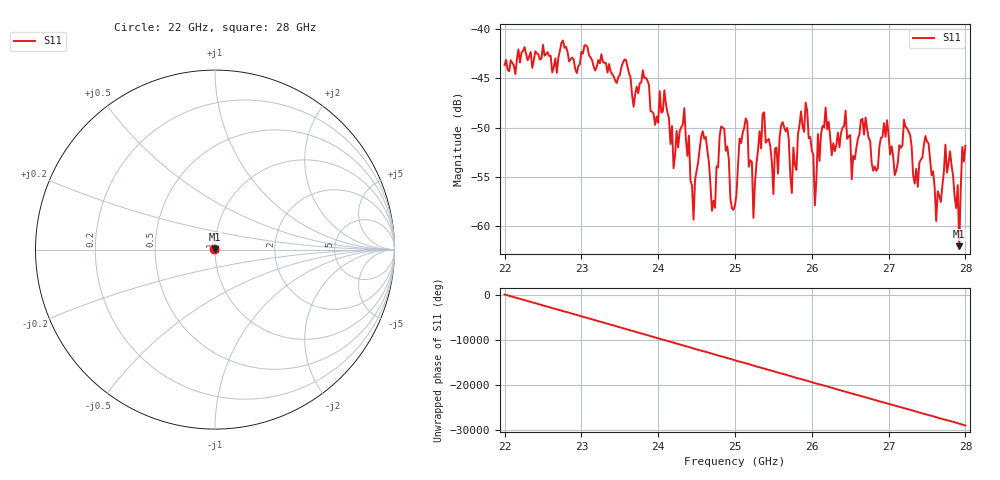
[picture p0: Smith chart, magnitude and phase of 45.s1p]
#  HZ  S  RI  R  50.00
! Rohde & Schwarz ZVA40 4Ports - Version 3.90 - 1145.1110k42 SN: 100403
! Date: 2023-10-04 06:22:11
! Measurement: S12
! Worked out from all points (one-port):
!   301 points, 22 GHz to 28 GHz, reference 50 ohm
!   lowest |S11| = -62.1 dB at 27.92 GHz (marker M1), VSWR 1.00, Z = 50 + j0.072 ohm
!   |S11| at or under -10 dB: start of sweep to end of sweep
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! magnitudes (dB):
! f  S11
! 22 GHz  -43.6
! 22.76 GHz  -41.1
! 23.5 GHz  -44.7
! 24.26 GHz  -52.0
! 24.34 GHz  -48.0
! 24.46 GHz  -59.4
! 24.58 GHz  -50.4
! 24.7 GHz  -58.5
! 24.86 GHz  -50.1
! 25 GHz  -57.9
! 25.14 GHz  -49.1
! 25.24 GHz  -59.2
! 25.36 GHz  -48.6
! 25.5 GHz  -56.8
! 25.6 GHz  -49.8
! 25.76 GHz  -52.1
! 25.92 GHz  -47.5
! 26.04 GHz  -57.9
! 26.18 GHz  -48.0
! 26.5 GHz  -50.8
! 27.26 GHz  -50.4
! 27.38 GHz  -56.0
! 27.52 GHz  -51.6
! 27.62 GHz  -59.5
! 27.8 GHz  -52.4
! 27.92 GHz  -62.1
! 27.96 GHz  -52.0
! 28 GHz  -51.9
